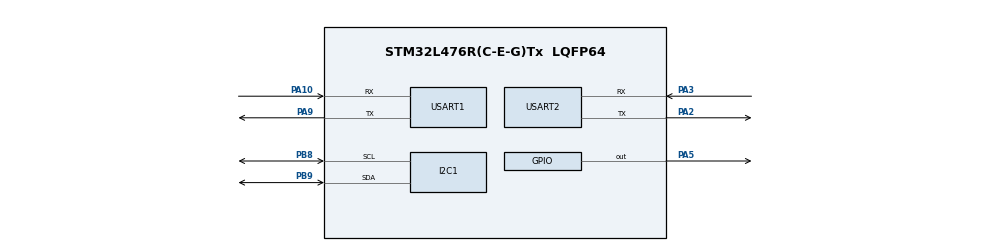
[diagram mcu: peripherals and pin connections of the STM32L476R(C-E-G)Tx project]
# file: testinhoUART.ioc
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I2C1.Timing=0x00100D14
Mcu.Family=STM32L4
Mcu.Name=STM32L476R(C-E-G)Tx
Mcu.Package=LQFP64
NVIC.PriorityGroup=NVIC_PRIORITYGROUP_4
NVIC.USART1_IRQn=true\:0\:0\:false\:false\:true\:true\:true\:true
NVIC.USART2_IRQn=true\:0\:0\:false\:false\:true\:true\:true\:true
PA10.Mode=Asynchronous
PA10.Signal=USART1_RX
PA2.Mode=Asynchronous
PA2.Signal=USART2_TX
PA3.Mode=Asynchronous
PA3.Signal=USART2_RX
PA5.Signal=GPIO_Output
PA9.Mode=Asynchronous
PA9.Signal=USART1_TX
PB8.Mode=I2C
PB8.Signal=I2C1_SCL
PB9.Mode=I2C
PB9.Signal=I2C1_SDA
ProjectManager.HeapSize=0x200
ProjectManager.StackSize=0x400
ProjectManager.TargetToolchain=CMake
RCC.HSE_VALUE=8000000
RCC.HSI_VALUE=16000000
RCC.LSE_VALUE=32768
RCC.MSI_VALUE=4000000
RCC.VCOOutputFreq_Value=32000000
USART1.VirtualMode-Asynchronous=VM_ASYNC
USART2.VirtualMode-Asynchronous=VM_ASYNC
board=custom

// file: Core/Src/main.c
/* USER CODE BEGIN Header */
/**
  ******************************************************************************
  * @file           : main.c
  * @brief          : Main program body
  ******************************************************************************
  * @attention
  *
  * Copyright (c) 2026 STMicroelectronics.
  * All rights reserved.
  *
  * This software is licensed under terms that can be found in the LICENSE file
  * in the root directory of this software component.
  * If no LICENSE file comes with this software, it is provided AS-IS.
  *
  ******************************************************************************
  */
/* USER CODE END Header */
#include "main.h"

/* USER CODE BEGIN Includes */
#include "DS3231.h"
#include "BME280.h"
#include <stdio.h>
/* USER CODE END Includes */

I2C_HandleTypeDef hi2c1;

UART_HandleTypeDef huart1;
UART_HandleTypeDef huart2;

/* USER CODE BEGIN PV */
  char comando[2] = "0";
/* USER CODE END PV */

void SystemClock_Config(void);
static void MX_GPIO_Init(void);
static void MX_USART1_UART_Init(void);
static void MX_USART2_UART_Init(void);
static void MX_I2C1_Init(void);

int main(void)
{

  /* MCU Configuration--------------------------------------------------------*/

  /* Reset of all peripherals, Initializes the Flash interface and the Systick. */
  HAL_Init();

  /* Configure the system clock */
  SystemClock_Config();

  /* Initialize all configured peripherals */
  MX_GPIO_Init();
  MX_USART1_UART_Init();
  MX_USART2_UART_Init();
  MX_I2C1_Init();

  /* Infinite loop */
  /* USER CODE BEGIN WHILE */
   Telemetry_t telemetryPacket;
  // uint8_t counter = 0;

	static BME280_HandleTypeDef BMEBat;
  char bufferTelemetry[80];

	Set_Time(0, 41, 15, 0, 2, 9, 26);
	BME280_initDefault(&BMEBat, hi2c1);
	BME280_setOversampling(&BMEBat, BME280_OS_16x, PSSR);

  HAL_UART_Receive_IT(&huart2, (uint8_t*)comando, sizeof(comando));
  HAL_GPIO_WritePin(GPIOA, GPIO_PIN_5, 1);

  while (1)
  {
    Get_Time(&telemetryPacket.segundo, &telemetryPacket.minuto, &telemetryPacket.hora, NULL, &telemetryPacket.dia, &telemetryPacket.mes, &telemetryPacket.ano);
	  BME280_readSingleShot(&BMEBat);
    telemetryPacket.temperatura_bateria = BMEBat.READ.TEMP;

    printf("Hora: %02d:%02d:%02d Data: %02d/%02d/%02d\r\n", telemetryPacket.hora, telemetryPacket.minuto, telemetryPacket.segundo, telemetryPacket.dia, telemetryPacket.mes, telemetryPacket.ano);

    if (comando[0] == '1') {
      HAL_GPIO_WritePin(GPIOA, GPIO_PIN_5, GPIO_PIN_SET);
    } else if (comando[0] == '0') {
      HAL_GPIO_WritePin(GPIOA, GPIO_PIN_5, GPIO_PIN_RESET);
    }

    HAL_Delay(1000);
    /* USER CODE END WHILE */

  }
}

void SystemClock_Config(void)
{
  RCC_OscInitTypeDef RCC_OscInitStruct = {0};
  RCC_ClkInitTypeDef RCC_ClkInitStruct = {0};

  /** Configure the main internal regulator output voltage
  */
  if (HAL_PWREx_ControlVoltageScaling(PWR_REGULATOR_VOLTAGE_SCALE1) != HAL_OK)
  {
    Error_Handler();
  }

  /** Initializes the RCC Oscillators according to the specified parameters
  * in the RCC_OscInitTypeDef structure.
  */
  RCC_OscInitStruct.OscillatorType = RCC_OSCILLATORTYPE_MSI;
  RCC_OscInitStruct.MSIState = RCC_MSI_ON;
  RCC_OscInitStruct.MSICalibrationValue = 0;
  RCC_OscInitStruct.MSIClockRange = RCC_MSIRANGE_6;
  RCC_OscInitStruct.PLL.PLLState = RCC_PLL_NONE;
  if (HAL_RCC_OscConfig(&RCC_OscInitStruct) != HAL_OK)
  {
    Error_Handler();
  }

  /** Initializes the CPU, AHB and APB buses clocks
  */
  RCC_ClkInitStruct.ClockType = RCC_CLOCKTYPE_HCLK|RCC_CLOCKTYPE_SYSCLK
                              |RCC_CLOCKTYPE_PCLK1|RCC_CLOCKTYPE_PCLK2;
  RCC_ClkInitStruct.SYSCLKSource = RCC_SYSCLKSOURCE_MSI;
  RCC_ClkInitStruct.AHBCLKDivider = RCC_SYSCLK_DIV1;
  RCC_ClkInitStruct.APB1CLKDivider = RCC_HCLK_DIV1;
  RCC_ClkInitStruct.APB2CLKDivider = RCC_HCLK_DIV1;

  if (HAL_RCC_ClockConfig(&RCC_ClkInitStruct, FLASH_LATENCY_0) != HAL_OK)
  {
    Error_Handler();
  }
}

static void MX_I2C1_Init(void)
{

  hi2c1.Instance = I2C1;
  hi2c1.Init.Timing = 0x00100D14;
  hi2c1.Init.OwnAddress1 = 0;
  hi2c1.Init.AddressingMode = I2C_ADDRESSINGMODE_7BIT;
  hi2c1.Init.DualAddressMode = I2C_DUALADDRESS_DISABLE;
  hi2c1.Init.OwnAddress2 = 0;
  hi2c1.Init.OwnAddress2Masks = I2C_OA2_NOMASK;
  hi2c1.Init.GeneralCallMode = I2C_GENERALCALL_DISABLE;
  hi2c1.Init.NoStretchMode = I2C_NOSTRETCH_DISABLE;
  if (HAL_I2C_Init(&hi2c1) != HAL_OK)
  {
    Error_Handler();
  }

  /** Configure Analogue filter
  */
  if (HAL_I2CEx_ConfigAnalogFilter(&hi2c1, I2C_ANALOGFILTER_ENABLE) != HAL_OK)
  {
    Error_Handler();
  }

  /** Configure Digital filter
  */
  if (HAL_I2CEx_ConfigDigitalFilter(&hi2c1, 0) != HAL_OK)
  {
    Error_Handler();
  }

}

static void MX_USART1_UART_Init(void)
{

  huart1.Instance = USART1;
  huart1.Init.BaudRate = 115200;
  huart1.Init.WordLength = UART_WORDLENGTH_8B;
  huart1.Init.StopBits = UART_STOPBITS_1;
  huart1.Init.Parity = UART_PARITY_NONE;
  huart1.Init.Mode = UART_MODE_TX_RX;
  huart1.Init.HwFlowCtl = UART_HWCONTROL_NONE;
  huart1.Init.OverSampling = UART_OVERSAMPLING_16;
  huart1.Init.OneBitSampling = UART_ONE_BIT_SAMPLE_DISABLE;
  huart1.AdvancedInit.AdvFeatureInit = UART_ADVFEATURE_NO_INIT;
  if (HAL_UART_Init(&huart1) != HAL_OK)
  {
    Error_Handler();
  }

}

static void MX_USART2_UART_Init(void)
{

  huart2.Instance = USART2;
  huart2.Init.BaudRate = 115200;
  huart2.Init.WordLength = UART_WORDLENGTH_8B;
  huart2.Init.StopBits = UART_STOPBITS_1;
  huart2.Init.Parity = UART_PARITY_NONE;
  huart2.Init.Mode = UART_MODE_TX_RX;
  huart2.Init.HwFlowCtl = UART_HWCONTROL_NONE;
  huart2.Init.OverSampling = UART_OVERSAMPLING_16;
  huart2.Init.OneBitSampling = UART_ONE_BIT_SAMPLE_DISABLE;
  huart2.AdvancedInit.AdvFeatureInit = UART_ADVFEATURE_NO_INIT;
  if (HAL_UART_Init(&huart2) != HAL_OK)
  {
    Error_Handler();
  }

}

static void MX_GPIO_Init(void)
{
  GPIO_InitTypeDef GPIO_InitStruct = {0};

  /* GPIO Ports Clock Enable */
  __HAL_RCC_GPIOA_CLK_ENABLE();
  __HAL_RCC_GPIOB_CLK_ENABLE();

  /*Configure GPIO pin Output Level */
  HAL_GPIO_WritePin(GPIOA, GPIO_PIN_5, GPIO_PIN_RESET);

  /*Configure GPIO pin : PA5 */
  GPIO_InitStruct.Pin = GPIO_PIN_5;
  GPIO_InitStruct.Mode = GPIO_MODE_OUTPUT_PP;
  GPIO_InitStruct.Pull = GPIO_NOPULL;
  GPIO_InitStruct.Speed = GPIO_SPEED_FREQ_LOW;
  HAL_GPIO_Init(GPIOA, &GPIO_InitStruct);

}

/* USER CODE BEGIN 4 */
void HAL_UART_RxCpltCallback(UART_HandleTypeDef *huart)
{
    if (huart->Instance == huart2.Instance)
    {
      //  HAL_UART_Transmit(&huart2, &comando, 1, 1000); // envia de volta o comando recebido
       printf("Comando recebido: %c\r\n", comando[0]);

       HAL_UART_Receive_IT(&huart2, (uint8_t*)comando, sizeof(comando));        // deixa pronto pra receber de novo
    }
  }

int __io_putchar (int ch) {
	HAL_UART_Transmit(&huart2, (uint8_t*)&ch, 1, HAL_MAX_DELAY);
	return ch;
	}
/* USER CODE END 4 */

void Error_Handler(void)
{
  __disable_irq();
  while (1)
  {
  }
}
